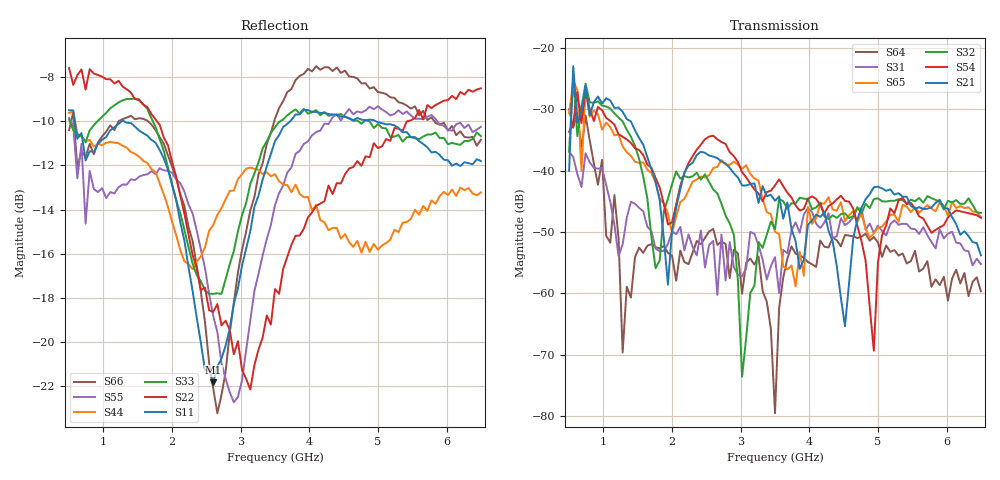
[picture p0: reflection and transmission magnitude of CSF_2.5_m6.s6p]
!Keysight Technologies,M9804A,MY58100912,A.14.10.03
!Date: Thursday, April 27, 2023 10:28:33
!Correction: S11(C  6-Port  )
!S12(C  6-Port  )
!S13(C  6-Port  )
!S14(C  6-Port  )
!S15(C  6-Port  )
!S16(C  6-Port  )
!S21(C  6-Port  )
!S22(C  6-Port  )
!S23(C  6-Port  )
!S24(C  6-Port  )
!S25(C  6-Port  )
!S26(C  6-Port  )
!S31(C  6-Port  )
!S32(C  6-Port  )
!S33(C  6-Port  )
!S34(C  6-Port  )
!S35(C  6-Port  )
!S36(C  6-Port  )
!S41(C  6-Port  )
!S42(C  6-Port  )
!S43(C  6-Port  )
!S44(C  6-Port  )
!S45(C  6-Port  )
!S46(C  6-Port  )
!S51(C  6-Port  )
!S52(C  6-Port  )
!S53(C  6-Port  )
!S54(C  6-Port  )
!S55(C  6-Port  )
!S56(C  6-Port  )
!S61(C  6-Port  )
!S62(C  6-Port  )
!S63(C  6-Port  )
!S64(C  6-Port  )
!S65(C  6-Port  )
!S66(C  6-Port  )
!S6P File: Measurement: :
# Hz S  RI  R 50
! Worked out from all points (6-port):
!   101 points, 500 MHz to 6.5 GHz, reference 50 ohm
!   strongest paths, dB at 500 MHz, 2 GHz, 3.5 GHz, 5 GHz, 6.5 GHz:
!     S21: -40.0, -49.7, -44.9, -42.6, -53.8
!     S54: -33.7, -48.4, -42.4, -55.0, -47.7
!     S32: -36.8, -42.2, -49.6, -44.5, -46.9
!     S65: -30.7, -50.2, -50.0, -49.3, -47.6
!     S31: -37.0, -49.9, -54.1, -49.0, -55.2
!     S64: -30.0, -53.9, -79.5, -51.7, -59.7
!   lowest |S11| = -21.8 dB at 2.6 GHz (marker M1), VSWR 1.18, Z = 42.7 + j1.93 ohm
!   |S11| at or under -10 dB: 582.5 MHz to 1.271 GHz (688.4 MHz wide, 74.3 % of centre); 1.294 GHz to 3.723 GHz (2.428 GHz wide, 96.8 % of centre); 4.965 GHz to end of sweep
